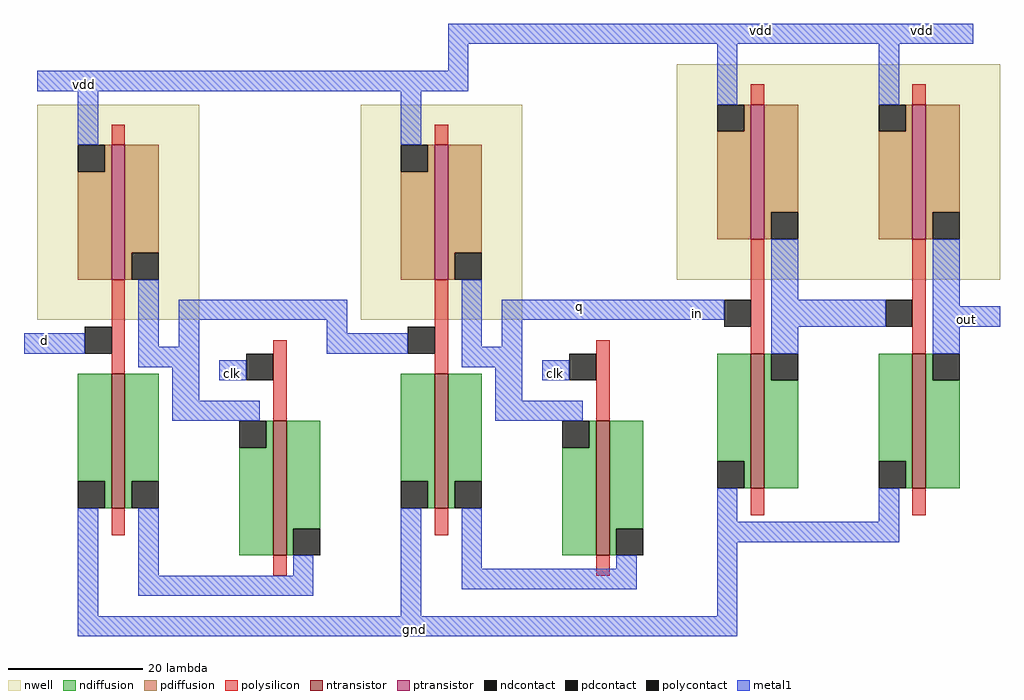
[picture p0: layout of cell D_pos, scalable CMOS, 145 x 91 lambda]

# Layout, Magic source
magic
tech scmos
<< nwell >>
rect -158 94 -134 126
rect -110 94 -86 126
rect -63 100 -15 132
<< ntransistor >>
rect -147 66 -145 86
rect -123 59 -121 79
rect -99 66 -97 86
rect -75 59 -73 79
rect -52 69 -50 89
rect -28 69 -26 89
<< ptransistor >>
rect -147 100 -145 120
rect -99 100 -97 120
rect -52 106 -50 126
rect -28 106 -26 126
<< ndiffusion >>
rect -152 70 -147 86
rect -148 66 -147 70
rect -145 70 -140 86
rect -145 66 -144 70
rect -124 75 -123 79
rect -128 59 -123 75
rect -121 63 -116 79
rect -104 70 -99 86
rect -100 66 -99 70
rect -97 70 -92 86
rect -97 66 -96 70
rect -76 75 -75 79
rect -121 59 -120 63
rect -80 59 -75 75
rect -73 63 -68 79
rect -57 73 -52 89
rect -53 69 -52 73
rect -50 85 -49 89
rect -50 69 -45 85
rect -33 73 -28 89
rect -29 69 -28 73
rect -26 85 -25 89
rect -26 69 -21 85
rect -73 59 -72 63
<< pdiffusion >>
rect -53 122 -52 126
rect -148 116 -147 120
rect -152 100 -147 116
rect -145 104 -140 120
rect -145 100 -144 104
rect -100 116 -99 120
rect -104 100 -99 116
rect -97 104 -92 120
rect -57 106 -52 122
rect -50 110 -45 126
rect -50 106 -49 110
rect -29 122 -28 126
rect -33 106 -28 122
rect -26 110 -21 126
rect -26 106 -25 110
rect -97 100 -96 104
<< ndcontact >>
rect -152 66 -148 70
rect -144 66 -140 70
rect -128 75 -124 79
rect -104 66 -100 70
rect -96 66 -92 70
rect -80 75 -76 79
rect -120 59 -116 63
rect -57 69 -53 73
rect -49 85 -45 89
rect -33 69 -29 73
rect -25 85 -21 89
rect -72 59 -68 63
<< pdcontact >>
rect -57 122 -53 126
rect -152 116 -148 120
rect -144 100 -140 104
rect -104 116 -100 120
rect -49 106 -45 110
rect -33 122 -29 126
rect -25 106 -21 110
rect -96 100 -92 104
<< polysilicon >>
rect -52 126 -50 129
rect -28 126 -26 129
rect -147 120 -145 123
rect -99 120 -97 123
rect -147 86 -145 100
rect -123 79 -121 91
rect -99 86 -97 100
rect -147 62 -145 66
rect -75 79 -73 91
rect -52 89 -50 106
rect -28 89 -26 106
rect -99 62 -97 66
rect -52 65 -50 69
rect -28 65 -26 69
rect -123 56 -121 59
rect -75 56 -73 59
<< polycontact >>
rect -151 89 -147 93
rect -127 85 -123 89
rect -103 89 -99 93
rect -56 93 -52 97
rect -79 85 -75 89
rect -32 93 -28 97
<< metal1 >>
rect -97 135 -19 138
rect -97 131 -94 135
rect -158 128 -94 131
rect -152 120 -149 128
rect -104 120 -101 128
rect -57 126 -54 135
rect -33 126 -30 135
rect -160 89 -151 92
rect -143 90 -140 100
rect -137 94 -112 97
rect -137 90 -134 94
rect -143 87 -134 90
rect -115 92 -112 94
rect -115 89 -103 92
rect -95 90 -92 100
rect -49 97 -45 106
rect -89 94 -56 97
rect -89 90 -86 94
rect -49 93 -32 97
rect -25 96 -21 106
rect -25 93 -15 96
rect -138 82 -134 87
rect -131 85 -127 88
rect -95 87 -86 90
rect -49 89 -45 93
rect -90 82 -86 87
rect -83 85 -79 88
rect -25 89 -21 93
rect -138 79 -125 82
rect -90 79 -77 82
rect -152 50 -149 66
rect -143 56 -140 66
rect -120 56 -117 59
rect -143 53 -117 56
rect -104 50 -101 66
rect -95 57 -92 66
rect -57 64 -54 69
rect -33 64 -30 69
rect -57 61 -30 64
rect -72 57 -69 59
rect -95 54 -69 57
rect -57 50 -54 61
rect -152 47 -54 50
<< labels >>
rlabel metal1 -151 129 -151 129 5 vdd
rlabel metal1 -51 137 -50 137 5 vdd
rlabel metal1 -27 137 -26 137 5 vdd
rlabel metal1 -129 86 -129 86 1 clk
rlabel metal1 -157 91 -157 91 1 d
rlabel metal1 -81 86 -81 86 1 clk
rlabel metal1 -78 96 -77 96 1 q
rlabel metal1 -60 95 -60 95 3 in
rlabel metal1 -20 94 -20 94 7 out
rlabel metal1 -102 48 -102 48 1 gnd
<< end >>
